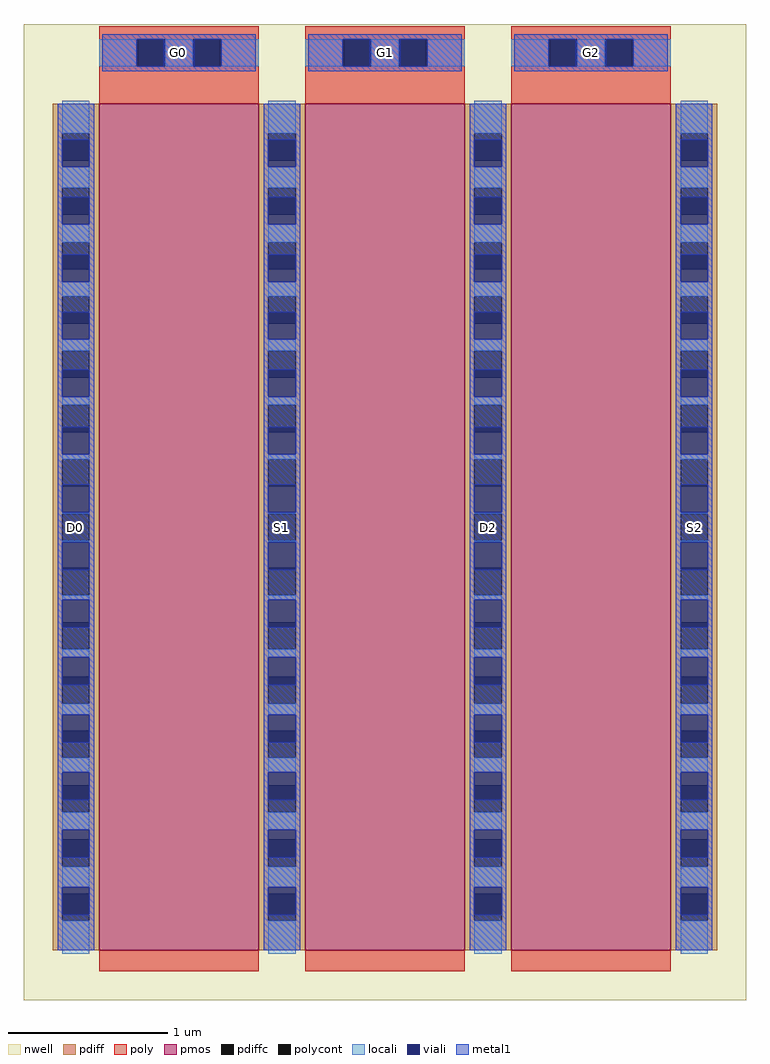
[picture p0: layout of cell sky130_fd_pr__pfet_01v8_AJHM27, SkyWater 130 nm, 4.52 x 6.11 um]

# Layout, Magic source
magic
tech sky130A
magscale 1 2
<< nwell >>
rect -452 -628 452 594
<< pmos >>
rect -358 -566 -158 494
rect -100 -566 100 494
rect 158 -566 358 494
<< pdiff >>
rect -416 457 -358 494
rect -416 423 -404 457
rect -370 423 -358 457
rect -416 389 -358 423
rect -416 355 -404 389
rect -370 355 -358 389
rect -416 321 -358 355
rect -416 287 -404 321
rect -370 287 -358 321
rect -416 253 -358 287
rect -416 219 -404 253
rect -370 219 -358 253
rect -416 185 -358 219
rect -416 151 -404 185
rect -370 151 -358 185
rect -416 117 -358 151
rect -416 83 -404 117
rect -370 83 -358 117
rect -416 49 -358 83
rect -416 15 -404 49
rect -370 15 -358 49
rect -416 -19 -358 15
rect -416 -53 -404 -19
rect -370 -53 -358 -19
rect -416 -87 -358 -53
rect -416 -121 -404 -87
rect -370 -121 -358 -87
rect -416 -155 -358 -121
rect -416 -189 -404 -155
rect -370 -189 -358 -155
rect -416 -223 -358 -189
rect -416 -257 -404 -223
rect -370 -257 -358 -223
rect -416 -291 -358 -257
rect -416 -325 -404 -291
rect -370 -325 -358 -291
rect -416 -359 -358 -325
rect -416 -393 -404 -359
rect -370 -393 -358 -359
rect -416 -427 -358 -393
rect -416 -461 -404 -427
rect -370 -461 -358 -427
rect -416 -495 -358 -461
rect -416 -529 -404 -495
rect -370 -529 -358 -495
rect -416 -566 -358 -529
rect -158 457 -100 494
rect -158 423 -146 457
rect -112 423 -100 457
rect -158 389 -100 423
rect -158 355 -146 389
rect -112 355 -100 389
rect -158 321 -100 355
rect -158 287 -146 321
rect -112 287 -100 321
rect -158 253 -100 287
rect -158 219 -146 253
rect -112 219 -100 253
rect -158 185 -100 219
rect -158 151 -146 185
rect -112 151 -100 185
rect -158 117 -100 151
rect -158 83 -146 117
rect -112 83 -100 117
rect -158 49 -100 83
rect -158 15 -146 49
rect -112 15 -100 49
rect -158 -19 -100 15
rect -158 -53 -146 -19
rect -112 -53 -100 -19
rect -158 -87 -100 -53
rect -158 -121 -146 -87
rect -112 -121 -100 -87
rect -158 -155 -100 -121
rect -158 -189 -146 -155
rect -112 -189 -100 -155
rect -158 -223 -100 -189
rect -158 -257 -146 -223
rect -112 -257 -100 -223
rect -158 -291 -100 -257
rect -158 -325 -146 -291
rect -112 -325 -100 -291
rect -158 -359 -100 -325
rect -158 -393 -146 -359
rect -112 -393 -100 -359
rect -158 -427 -100 -393
rect -158 -461 -146 -427
rect -112 -461 -100 -427
rect -158 -495 -100 -461
rect -158 -529 -146 -495
rect -112 -529 -100 -495
rect -158 -566 -100 -529
rect 100 457 158 494
rect 100 423 112 457
rect 146 423 158 457
rect 100 389 158 423
rect 100 355 112 389
rect 146 355 158 389
rect 100 321 158 355
rect 100 287 112 321
rect 146 287 158 321
rect 100 253 158 287
rect 100 219 112 253
rect 146 219 158 253
rect 100 185 158 219
rect 100 151 112 185
rect 146 151 158 185
rect 100 117 158 151
rect 100 83 112 117
rect 146 83 158 117
rect 100 49 158 83
rect 100 15 112 49
rect 146 15 158 49
rect 100 -19 158 15
rect 100 -53 112 -19
rect 146 -53 158 -19
rect 100 -87 158 -53
rect 100 -121 112 -87
rect 146 -121 158 -87
rect 100 -155 158 -121
rect 100 -189 112 -155
rect 146 -189 158 -155
rect 100 -223 158 -189
rect 100 -257 112 -223
rect 146 -257 158 -223
rect 100 -291 158 -257
rect 100 -325 112 -291
rect 146 -325 158 -291
rect 100 -359 158 -325
rect 100 -393 112 -359
rect 146 -393 158 -359
rect 100 -427 158 -393
rect 100 -461 112 -427
rect 146 -461 158 -427
rect 100 -495 158 -461
rect 100 -529 112 -495
rect 146 -529 158 -495
rect 100 -566 158 -529
rect 358 457 416 494
rect 358 423 370 457
rect 404 423 416 457
rect 358 389 416 423
rect 358 355 370 389
rect 404 355 416 389
rect 358 321 416 355
rect 358 287 370 321
rect 404 287 416 321
rect 358 253 416 287
rect 358 219 370 253
rect 404 219 416 253
rect 358 185 416 219
rect 358 151 370 185
rect 404 151 416 185
rect 358 117 416 151
rect 358 83 370 117
rect 404 83 416 117
rect 358 49 416 83
rect 358 15 370 49
rect 404 15 416 49
rect 358 -19 416 15
rect 358 -53 370 -19
rect 404 -53 416 -19
rect 358 -87 416 -53
rect 358 -121 370 -87
rect 404 -121 416 -87
rect 358 -155 416 -121
rect 358 -189 370 -155
rect 404 -189 416 -155
rect 358 -223 416 -189
rect 358 -257 370 -223
rect 404 -257 416 -223
rect 358 -291 416 -257
rect 358 -325 370 -291
rect 404 -325 416 -291
rect 358 -359 416 -325
rect 358 -393 370 -359
rect 404 -393 416 -359
rect 358 -427 416 -393
rect 358 -461 370 -427
rect 404 -461 416 -427
rect 358 -495 416 -461
rect 358 -529 370 -495
rect 404 -529 416 -495
rect 358 -566 416 -529
<< pdiffc >>
rect -404 423 -370 457
rect -404 355 -370 389
rect -404 287 -370 321
rect -404 219 -370 253
rect -404 151 -370 185
rect -404 83 -370 117
rect -404 15 -370 49
rect -404 -53 -370 -19
rect -404 -121 -370 -87
rect -404 -189 -370 -155
rect -404 -257 -370 -223
rect -404 -325 -370 -291
rect -404 -393 -370 -359
rect -404 -461 -370 -427
rect -404 -529 -370 -495
rect -146 423 -112 457
rect -146 355 -112 389
rect -146 287 -112 321
rect -146 219 -112 253
rect -146 151 -112 185
rect -146 83 -112 117
rect -146 15 -112 49
rect -146 -53 -112 -19
rect -146 -121 -112 -87
rect -146 -189 -112 -155
rect -146 -257 -112 -223
rect -146 -325 -112 -291
rect -146 -393 -112 -359
rect -146 -461 -112 -427
rect -146 -529 -112 -495
rect 112 423 146 457
rect 112 355 146 389
rect 112 287 146 321
rect 112 219 146 253
rect 112 151 146 185
rect 112 83 146 117
rect 112 15 146 49
rect 112 -53 146 -19
rect 112 -121 146 -87
rect 112 -189 146 -155
rect 112 -257 146 -223
rect 112 -325 146 -291
rect 112 -393 146 -359
rect 112 -461 146 -427
rect 112 -529 146 -495
rect 370 423 404 457
rect 370 355 404 389
rect 370 287 404 321
rect 370 219 404 253
rect 370 151 404 185
rect 370 83 404 117
rect 370 15 404 49
rect 370 -53 404 -19
rect 370 -121 404 -87
rect 370 -189 404 -155
rect 370 -257 404 -223
rect 370 -325 404 -291
rect 370 -393 404 -359
rect 370 -461 404 -427
rect 370 -529 404 -495
<< poly >>
rect -358 575 -158 591
rect -358 541 -309 575
rect -275 541 -241 575
rect -207 541 -158 575
rect -358 494 -158 541
rect -100 575 100 591
rect -100 541 -51 575
rect -17 541 17 575
rect 51 541 100 575
rect -100 494 100 541
rect 158 575 358 591
rect 158 541 207 575
rect 241 541 275 575
rect 309 541 358 575
rect 158 494 358 541
rect -358 -592 -158 -566
rect -100 -592 100 -566
rect 158 -592 358 -566
<< polycont >>
rect -309 541 -275 575
rect -241 541 -207 575
rect -51 541 -17 575
rect 17 541 51 575
rect 207 541 241 575
rect 275 541 309 575
<< locali >>
rect -358 541 -311 575
rect -275 541 -241 575
rect -205 541 -158 575
rect -100 541 -53 575
rect -17 541 17 575
rect 53 541 100 575
rect 158 541 205 575
rect 241 541 275 575
rect 311 541 358 575
rect -404 457 -370 498
rect -404 389 -370 415
rect -404 321 -370 343
rect -404 253 -370 271
rect -404 185 -370 199
rect -404 117 -370 127
rect -404 49 -370 55
rect -404 -19 -370 -17
rect -404 -55 -370 -53
rect -404 -127 -370 -121
rect -404 -199 -370 -189
rect -404 -271 -370 -257
rect -404 -343 -370 -325
rect -404 -415 -370 -393
rect -404 -487 -370 -461
rect -404 -570 -370 -529
rect -146 457 -112 498
rect -146 389 -112 415
rect -146 321 -112 343
rect -146 253 -112 271
rect -146 185 -112 199
rect -146 117 -112 127
rect -146 49 -112 55
rect -146 -19 -112 -17
rect -146 -55 -112 -53
rect -146 -127 -112 -121
rect -146 -199 -112 -189
rect -146 -271 -112 -257
rect -146 -343 -112 -325
rect -146 -415 -112 -393
rect -146 -487 -112 -461
rect -146 -570 -112 -529
rect 112 457 146 498
rect 112 389 146 415
rect 112 321 146 343
rect 112 253 146 271
rect 112 185 146 199
rect 112 117 146 127
rect 112 49 146 55
rect 112 -19 146 -17
rect 112 -55 146 -53
rect 112 -127 146 -121
rect 112 -199 146 -189
rect 112 -271 146 -257
rect 112 -343 146 -325
rect 112 -415 146 -393
rect 112 -487 146 -461
rect 112 -570 146 -529
rect 370 457 404 498
rect 370 389 404 415
rect 370 321 404 343
rect 370 253 404 271
rect 370 185 404 199
rect 370 117 404 127
rect 370 49 404 55
rect 370 -19 404 -17
rect 370 -55 404 -53
rect 370 -127 404 -121
rect 370 -199 404 -189
rect 370 -271 404 -257
rect 370 -343 404 -325
rect 370 -415 404 -393
rect 370 -487 404 -461
rect 370 -570 404 -529
<< viali >>
rect -311 541 -309 575
rect -309 541 -277 575
rect -239 541 -207 575
rect -207 541 -205 575
rect -53 541 -51 575
rect -51 541 -19 575
rect 19 541 51 575
rect 51 541 53 575
rect 205 541 207 575
rect 207 541 239 575
rect 277 541 309 575
rect 309 541 311 575
rect -404 423 -370 449
rect -404 415 -370 423
rect -404 355 -370 377
rect -404 343 -370 355
rect -404 287 -370 305
rect -404 271 -370 287
rect -404 219 -370 233
rect -404 199 -370 219
rect -404 151 -370 161
rect -404 127 -370 151
rect -404 83 -370 89
rect -404 55 -370 83
rect -404 15 -370 17
rect -404 -17 -370 15
rect -404 -87 -370 -55
rect -404 -89 -370 -87
rect -404 -155 -370 -127
rect -404 -161 -370 -155
rect -404 -223 -370 -199
rect -404 -233 -370 -223
rect -404 -291 -370 -271
rect -404 -305 -370 -291
rect -404 -359 -370 -343
rect -404 -377 -370 -359
rect -404 -427 -370 -415
rect -404 -449 -370 -427
rect -404 -495 -370 -487
rect -404 -521 -370 -495
rect -146 423 -112 449
rect -146 415 -112 423
rect -146 355 -112 377
rect -146 343 -112 355
rect -146 287 -112 305
rect -146 271 -112 287
rect -146 219 -112 233
rect -146 199 -112 219
rect -146 151 -112 161
rect -146 127 -112 151
rect -146 83 -112 89
rect -146 55 -112 83
rect -146 15 -112 17
rect -146 -17 -112 15
rect -146 -87 -112 -55
rect -146 -89 -112 -87
rect -146 -155 -112 -127
rect -146 -161 -112 -155
rect -146 -223 -112 -199
rect -146 -233 -112 -223
rect -146 -291 -112 -271
rect -146 -305 -112 -291
rect -146 -359 -112 -343
rect -146 -377 -112 -359
rect -146 -427 -112 -415
rect -146 -449 -112 -427
rect -146 -495 -112 -487
rect -146 -521 -112 -495
rect 112 423 146 449
rect 112 415 146 423
rect 112 355 146 377
rect 112 343 146 355
rect 112 287 146 305
rect 112 271 146 287
rect 112 219 146 233
rect 112 199 146 219
rect 112 151 146 161
rect 112 127 146 151
rect 112 83 146 89
rect 112 55 146 83
rect 112 15 146 17
rect 112 -17 146 15
rect 112 -87 146 -55
rect 112 -89 146 -87
rect 112 -155 146 -127
rect 112 -161 146 -155
rect 112 -223 146 -199
rect 112 -233 146 -223
rect 112 -291 146 -271
rect 112 -305 146 -291
rect 112 -359 146 -343
rect 112 -377 146 -359
rect 112 -427 146 -415
rect 112 -449 146 -427
rect 112 -495 146 -487
rect 112 -521 146 -495
rect 370 423 404 449
rect 370 415 404 423
rect 370 355 404 377
rect 370 343 404 355
rect 370 287 404 305
rect 370 271 404 287
rect 370 219 404 233
rect 370 199 404 219
rect 370 151 404 161
rect 370 127 404 151
rect 370 83 404 89
rect 370 55 404 83
rect 370 15 404 17
rect 370 -17 404 15
rect 370 -87 404 -55
rect 370 -89 404 -87
rect 370 -155 404 -127
rect 370 -161 404 -155
rect 370 -223 404 -199
rect 370 -233 404 -223
rect 370 -291 404 -271
rect 370 -305 404 -291
rect 370 -359 404 -343
rect 370 -377 404 -359
rect 370 -427 404 -415
rect 370 -449 404 -427
rect 370 -495 404 -487
rect 370 -521 404 -495
<< metal1 >>
rect -354 575 -162 581
rect -354 541 -311 575
rect -277 541 -239 575
rect -205 541 -162 575
rect -354 535 -162 541
rect -96 575 96 581
rect -96 541 -53 575
rect -19 541 19 575
rect 53 541 96 575
rect -96 535 96 541
rect 162 575 354 581
rect 162 541 205 575
rect 239 541 277 575
rect 311 541 354 575
rect 162 535 354 541
rect -410 449 -364 494
rect -410 415 -404 449
rect -370 415 -364 449
rect -410 377 -364 415
rect -410 343 -404 377
rect -370 343 -364 377
rect -410 305 -364 343
rect -410 271 -404 305
rect -370 271 -364 305
rect -410 233 -364 271
rect -410 199 -404 233
rect -370 199 -364 233
rect -410 161 -364 199
rect -410 127 -404 161
rect -370 127 -364 161
rect -410 89 -364 127
rect -410 55 -404 89
rect -370 55 -364 89
rect -410 17 -364 55
rect -410 -17 -404 17
rect -370 -17 -364 17
rect -410 -55 -364 -17
rect -410 -89 -404 -55
rect -370 -89 -364 -55
rect -410 -127 -364 -89
rect -410 -161 -404 -127
rect -370 -161 -364 -127
rect -410 -199 -364 -161
rect -410 -233 -404 -199
rect -370 -233 -364 -199
rect -410 -271 -364 -233
rect -410 -305 -404 -271
rect -370 -305 -364 -271
rect -410 -343 -364 -305
rect -410 -377 -404 -343
rect -370 -377 -364 -343
rect -410 -415 -364 -377
rect -410 -449 -404 -415
rect -370 -449 -364 -415
rect -410 -487 -364 -449
rect -410 -521 -404 -487
rect -370 -521 -364 -487
rect -410 -566 -364 -521
rect -152 449 -106 494
rect -152 415 -146 449
rect -112 415 -106 449
rect -152 377 -106 415
rect -152 343 -146 377
rect -112 343 -106 377
rect -152 305 -106 343
rect -152 271 -146 305
rect -112 271 -106 305
rect -152 233 -106 271
rect -152 199 -146 233
rect -112 199 -106 233
rect -152 161 -106 199
rect -152 127 -146 161
rect -112 127 -106 161
rect -152 89 -106 127
rect -152 55 -146 89
rect -112 55 -106 89
rect -152 17 -106 55
rect -152 -17 -146 17
rect -112 -17 -106 17
rect -152 -55 -106 -17
rect -152 -89 -146 -55
rect -112 -89 -106 -55
rect -152 -127 -106 -89
rect -152 -161 -146 -127
rect -112 -161 -106 -127
rect -152 -199 -106 -161
rect -152 -233 -146 -199
rect -112 -233 -106 -199
rect -152 -271 -106 -233
rect -152 -305 -146 -271
rect -112 -305 -106 -271
rect -152 -343 -106 -305
rect -152 -377 -146 -343
rect -112 -377 -106 -343
rect -152 -415 -106 -377
rect -152 -449 -146 -415
rect -112 -449 -106 -415
rect -152 -487 -106 -449
rect -152 -521 -146 -487
rect -112 -521 -106 -487
rect -152 -566 -106 -521
rect 106 449 152 494
rect 106 415 112 449
rect 146 415 152 449
rect 106 377 152 415
rect 106 343 112 377
rect 146 343 152 377
rect 106 305 152 343
rect 106 271 112 305
rect 146 271 152 305
rect 106 233 152 271
rect 106 199 112 233
rect 146 199 152 233
rect 106 161 152 199
rect 106 127 112 161
rect 146 127 152 161
rect 106 89 152 127
rect 106 55 112 89
rect 146 55 152 89
rect 106 17 152 55
rect 106 -17 112 17
rect 146 -17 152 17
rect 106 -55 152 -17
rect 106 -89 112 -55
rect 146 -89 152 -55
rect 106 -127 152 -89
rect 106 -161 112 -127
rect 146 -161 152 -127
rect 106 -199 152 -161
rect 106 -233 112 -199
rect 146 -233 152 -199
rect 106 -271 152 -233
rect 106 -305 112 -271
rect 146 -305 152 -271
rect 106 -343 152 -305
rect 106 -377 112 -343
rect 146 -377 152 -343
rect 106 -415 152 -377
rect 106 -449 112 -415
rect 146 -449 152 -415
rect 106 -487 152 -449
rect 106 -521 112 -487
rect 146 -521 152 -487
rect 106 -566 152 -521
rect 364 449 410 494
rect 364 415 370 449
rect 404 415 410 449
rect 364 377 410 415
rect 364 343 370 377
rect 404 343 410 377
rect 364 305 410 343
rect 364 271 370 305
rect 404 271 410 305
rect 364 233 410 271
rect 364 199 370 233
rect 404 199 410 233
rect 364 161 410 199
rect 364 127 370 161
rect 404 127 410 161
rect 364 89 410 127
rect 364 55 370 89
rect 404 55 410 89
rect 364 17 410 55
rect 364 -17 370 17
rect 404 -17 410 17
rect 364 -55 410 -17
rect 364 -89 370 -55
rect 404 -89 410 -55
rect 364 -127 410 -89
rect 364 -161 370 -127
rect 404 -161 410 -127
rect 364 -199 410 -161
rect 364 -233 370 -199
rect 404 -233 410 -199
rect 364 -271 410 -233
rect 364 -305 370 -271
rect 404 -305 410 -271
rect 364 -343 410 -305
rect 364 -377 370 -343
rect 404 -377 410 -343
rect 364 -415 410 -377
rect 364 -449 370 -415
rect 404 -449 410 -415
rect 364 -487 410 -449
rect 364 -521 370 -487
rect 404 -521 410 -487
rect 364 -566 410 -521
<< labels >>
rlabel locali s -387 -36 -387 -36 4 D0
rlabel locali s -258 558 -258 558 4 G0
rlabel locali s -129 -36 -129 -36 4 S1
rlabel locali s 0 558 0 558 4 G1
rlabel locali s 129 -36 129 -36 4 D2
rlabel locali s 387 -36 387 -36 4 S2
rlabel locali s 258 558 258 558 4 G2
<< end >>
